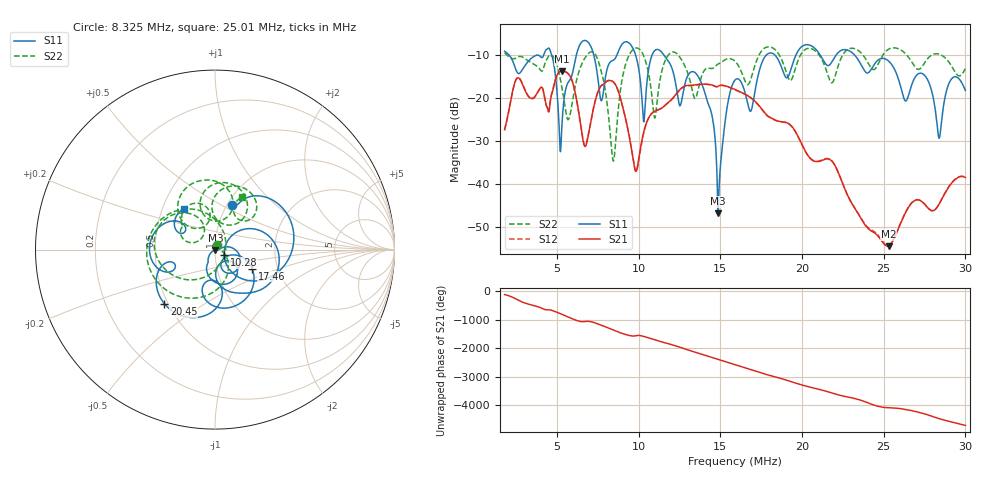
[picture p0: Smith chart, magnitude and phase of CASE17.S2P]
!Agilent Technologies,E5061B,MY49101568,A.02.00
!Date: Wed Mar 01 13:21:43 2023
!Data & Calibration Information:
!Freq	S11:SOLT2(OFF)	S21:SOLT2(OFF)	S12:SOLT2(OFF)	S22:SOLT2(OFF)
# Hz S dB R 50
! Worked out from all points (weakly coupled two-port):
!   1155 points, 1.8 MHz to 30 MHz, reference 50 ohm
!   highest |S21| = -13.78 dB at 5.319 MHz (marker M1); lowest = -54.5 dB at 25.31 MHz (marker M2)
!   lowest |S11| = -46.9 dB at 14.87 MHz (marker M3), VSWR 1.01, Z = 50.2 - j0.409 ohm
!   |S11| at or under -10 dB: 2.067 MHz to 4.193 MHz (2.126 MHz wide, 67.9 % of centre); 11.54 MHz to 17.82 MHz (6.275 MHz wide, 42.7 % of centre); 23.22 MHz to end of sweep (the widest 3 of 8)
!   |S22| runs from -34.7 to -8.1 dB; largest |S21 - S12| = 0.0025
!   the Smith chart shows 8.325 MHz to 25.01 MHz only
!   S11 on the Smith chart (normalised r, x): 8.325 MHz: 1.05, +0.57; 10.28 MHz: 1.11, -0.07; 17.46 MHz: 1.48, -0.33; 20.45 MHz: 0.48, -0.35; 25.01 MHz: 0.64, +0.32
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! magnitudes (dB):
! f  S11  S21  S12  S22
! 1.8 MHz  -9.1  -27.4  -27.5  -9.5
! 2.606 MHz  -14.2  -15.3  -15.2  -10.5
! 4.537 MHz  -8.5  -22.7  -22.6  -10.0
! 5.319 MHz  -25.7  -13.8  -13.8  -17.8
! 6.516 MHz  -7.0  -27.9  -27.9  -12.2
! 7.494 MHz  -15.0  -18.8  -18.8  -11.0
! 8.325 MHz  -11.5  -16.0  -16.0  -31.0
! 9.791 MHz  -9.7  -36.9  -36.8  -8.4
! 10.28 MHz  -24.6  -28.5  -28.7  -9.9
! 11.21 MHz  -8.7  -22.8  -22.8  -18.4
! 13.8 MHz  -16.1  -16.8  -16.9  -15.6
! 14.87 MHz  -46.9  -17.3  -17.3  -12.1
! 15.9 MHz  -15.8  -18.0  -18.1  -11.5
! 16.85 MHz  -23.1  -19.9  -19.9  -15.8
! 17.46 MHz  -12.7  -22.2  -22.3  -9.4
! 20.45 MHz  -7.7  -33.8  -33.8  -8.5
! 20.62 MHz  -8.0  -34.5  -34.4  -8.6
! 25.01 MHz  -10.8  -54.0  -53.8  -9.7
! 25.31 MHz  -11.4  -54.5  -54.5  -8.6
! 27.58 MHz  -15.1  -45.1  -45.1  -11.4
! 28.39 MHz  -29.4  -44.7  -44.7  -9.8
! 30 MHz  -18.3  -38.5  -38.5  -13.2
